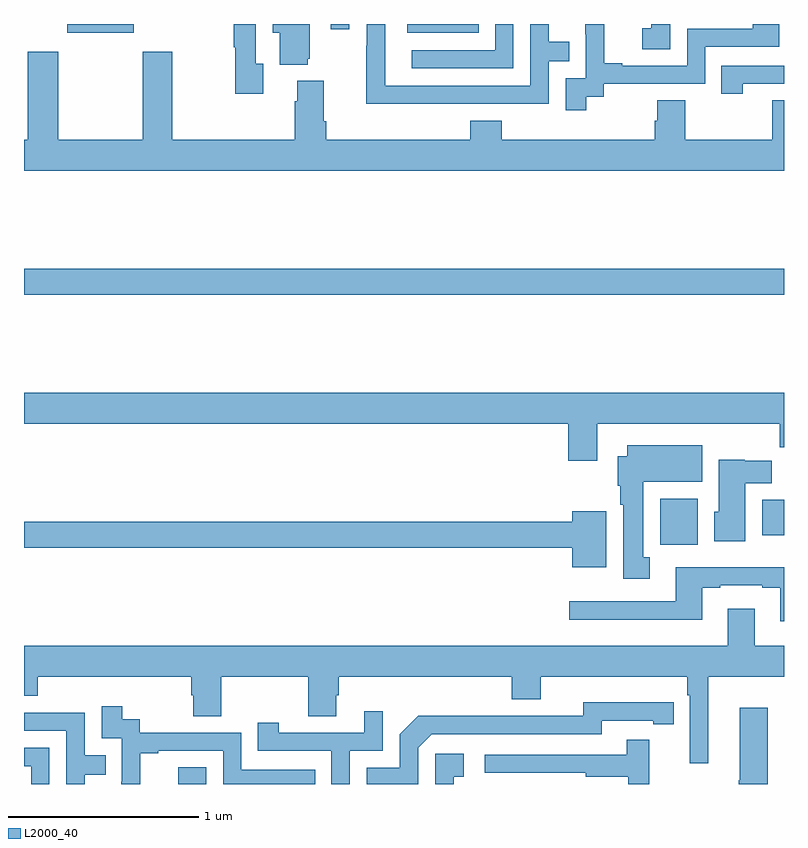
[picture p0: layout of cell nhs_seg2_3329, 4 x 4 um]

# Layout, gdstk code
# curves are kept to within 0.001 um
import gdstk
lib = gdstk.Library(unit=1e-6, precision=1e-09)
def R(c, l, rs):  # rectangles x0, y0, x1, y1
    for r in rs: c.add(gdstk.rectangle(r[:2], r[2:], *l))
def P(c, l, *ps):  # polygons
    for p in ps: c.add(gdstk.Polygon(p, *l))
L2000_40 = (2000, 40)

nhs_seg2_3329 = lib.new_cell('nhs_seg2_3329')
R(nhs_seg2_3329, L2000_40, [(287.811,585.8,287.958,585.889), (290.348,587.06,290.545,587.302), (290.885,587.108,291,587.296), (287,588.376,291,588.512), (287.228,589.754,287.578,589.8), (289.016,589.754,289.394,589.8), (288.615,589.773,288.711,589.8)])
P(nhs_seg2_3329, L2000_40, [(288.259,589.59),(288.219,589.59),(288.219,589.8),(288.103,589.8),(288.103,589.678),(288.111,589.678),(288.111,589.434),(288.259,589.434)],
  [(288.494,589.617),(288.505,589.617),(288.505,589.8),(288.308,589.8),(288.308,589.754),(288.347,589.754),(288.347,589.586),(288.494,589.586)],
  [(289.96,589.417),(290.052,589.417),(290.052,589.485),(290.586,589.485),(290.586,589.68),(290.975,589.68),(290.975,589.8),(290.835,589.8),(290.835,589.776),(290.49,589.776),(290.49,589.581),(290.149,589.581),(290.149,589.594),(290.054,589.594),(290.054,589.8),(289.955,589.8),(289.955,589.745),(289.956,589.745),(289.956,589.515),(289.851,589.515),(289.851,589.347),(289.96,589.347)],
  [(290.4,589.8),(290.302,589.8),(290.302,589.777),(290.253,589.777),(290.253,589.668),(290.4,589.668)],
  [(289.575,589.8),(289.479,589.8),(289.479,589.662),(289.041,589.662),(289.041,589.566),(289.575,589.566)],
  [(289.265,589.38),(289.761,589.38),(289.761,589.605),(289.871,589.605),(289.871,589.706),(289.761,589.706),(289.761,589.8),(289.665,589.8),(289.665,589.476),(288.9,589.476),(288.9,589.8),(288.804,589.8),(288.804,589.685),(288.802,589.685),(288.802,589.379),(289.265,589.379)],
  [(291,589.4),(290.938,589.4),(290.938,589.192),(290.481,589.192),(290.481,589.4),(290.333,589.4),(290.333,589.29),(290.321,589.29),(290.321,589.192),(289.514,589.192),(289.514,589.291),(289.349,589.291),(289.349,589.192),(288.59,589.192),(288.59,589.288),(288.577,589.288),(288.577,589.501),(288.437,589.501),(288.437,589.394),(288.425,589.394),(288.425,589.192),(287.781,589.192),(287.781,589.654),(287.626,589.654),(287.626,589.192),(287.181,589.192),(287.181,589.654),(287.021,589.654),(287.021,589.192),(287,589.192),(287,589.028),(291,589.028)],
  [(290.782,589.485),(291,589.485),(291,589.581),(290.671,589.581),(290.671,589.434),(290.782,589.434)],
  [(290.017,587.696),(290.977,587.696),(290.977,587.572),(291,587.572),(291,587.86),(287,587.86),(287,587.696),(289.865,587.696),(289.865,587.502),(290.017,587.502)],
  [(290.293,586.994),(290.26,586.994),(290.26,587.39),(290.569,587.39),(290.569,587.584),(290.174,587.584),(290.174,587.524),(290.126,587.524),(290.126,587.37),(290.138,587.37),(290.138,587.27),(290.153,587.27),(290.153,586.881),(290.293,586.881)],
  [(290.797,587.384),(290.936,587.384),(290.936,587.502),(290.793,587.502),(290.793,587.506),(290.657,587.506),(290.657,587.232),(290.633,587.232),(290.633,587.078),(290.797,587.078)],
  [(290.065,587.236),(289.886,587.236),(289.886,587.18),(287,587.18),(287,587.044),(289.886,587.044),(289.886,586.94),(290.065,586.94)],
  [(291,586.942),(290.429,586.942),(290.429,586.761),(289.869,586.761),(289.869,586.664),(290.569,586.664),(290.569,586.833),(290.665,586.833),(290.665,586.845),(290.885,586.845),(290.885,586.833),(290.981,586.833),(290.981,586.656),(291,586.656)],
  [(290.602,586.364),(291,586.364),(291,586.528),(290.845,586.528),(290.845,586.723),(290.705,586.723),(290.705,586.528),(287,586.528),(287,586.265),(287.072,586.265),(287.072,586.364),(287.879,586.364),(287.879,586.266),(287.891,586.266),(287.891,586.156),(288.039,586.156),(288.039,586.364),(288.496,586.364),(288.496,586.156),(288.643,586.156),(288.643,586.266),(288.656,586.266),(288.656,586.364),(289.568,586.364),(289.568,586.247),(289.72,586.247),(289.72,586.364),(290.492,586.364),(290.492,586.268),(290.505,586.268),(290.505,585.909),(290.602,585.909)],
  [(289.074,585.99),(289.146,586.062),(290.04,586.062),(290.04,586.134),(290.312,586.134),(290.312,586.114),(290.42,586.114),(290.42,586.23),(289.944,586.231),(289.944,586.158),(289.484,586.158),(289.484,586.16),(289.076,586.16),(288.978,586.062),(288.978,585.885),(288.804,585.885),(288.804,585.8),(289.074,585.8)],
  [(287.612,585.963),(287.707,585.963),(287.707,585.975),(288.048,585.975),(288.048,585.8),(288.533,585.8),(288.533,585.876),(288.144,585.876),(288.144,586.071),(287.61,586.071),(287.61,586.14),(287.518,586.14),(287.518,586.21),(287.409,586.21),(287.409,586.041),(287.514,586.041),(287.514,585.812),(287.513,585.812),(287.513,585.8),(287.612,585.8)],
  [(290.914,586.201),(290.768,586.201),(290.768,585.821),(290.761,585.821),(290.761,585.8),(290.914,585.8)],
  [(288.714,585.975),(288.888,585.975),(288.888,586.183),(288.791,586.183),(288.791,586.071),(288.34,586.071),(288.34,586.123),(288.229,586.123),(288.229,585.975),(288.618,585.975),(288.618,585.8),(288.714,585.8)],
  [(287.319,585.85),(287.429,585.85),(287.429,585.951),(287.319,585.951),(287.319,586.176),(287,586.176),(287,586.08),(287.223,586.08),(287.223,585.8),(287.319,585.8)],
  [(290.291,586.033),(290.173,586.033),(290.173,585.954),(289.425,585.954),(289.425,585.858),(289.957,585.858),(289.957,585.838),(290.181,585.838),(290.181,585.8),(290.291,585.8)],
  [(287.133,585.99),(287,585.99),(287,585.894),(287.037,585.894),(287.037,585.8),(287.133,585.8)],
  [(289.262,585.837),(289.315,585.837),(289.315,585.958),(289.164,585.958),(289.164,585.8),(289.262,585.8)])

lib.write_gds('nhs_seg2_3329.gds')
